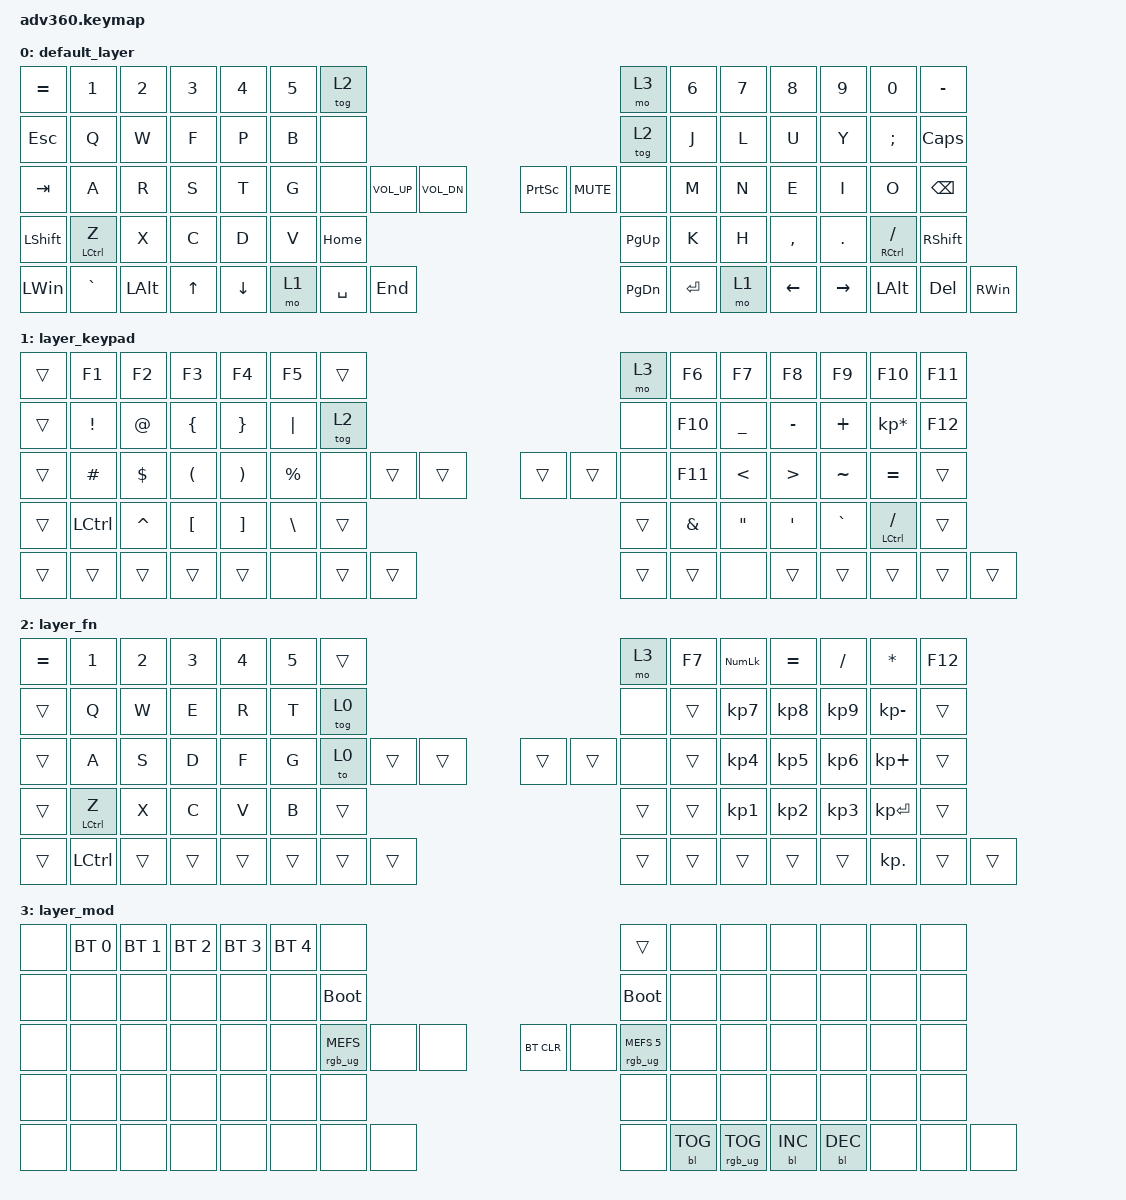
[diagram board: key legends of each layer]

/*
 * Copyright (c) 2020 The ZMK Contributors
 *
 * SPDX-License-Identifier: MIT
 */


/* THIS FILE WAS GENERATED!
 *
 * This file was generated automatically. You may or may not want to
 * edit it directly.
 */

#include <behaviors.dtsi>
#include <dt-bindings/zmk/keys.h>
#include <dt-bindings/zmk/bt.h>
#include <dt-bindings/zmk/rgb.h>
#include <dt-bindings/zmk/backlight.h>

/ {
  behaviors {
    #include "macros.dtsi"
    #include "version.dtsi"

    hm: homerow_mods {
        compatible = "zmk,behavior-hold-tap";
        label = "HOMEROW_MODS";
        #binding-cells = <2>;
        tapping-term-ms = <200>;
        quick_tap_ms = <175>;
        flavor = "tap-preferred";
        bindings = <&kp>, <&kp>;
    };
  };

    keymap {
        compatible = "zmk,keymap";


        default_layer {
            bindings = <
    &kp EQUAL              &kp N1        &kp N2  &kp N3    &kp N4  &kp N5            &tog 2                                                                            &mo 3  &kp N6    &kp N7     &kp N8        &kp N9                   &kp N0      &kp MINUS
      &kp ESC               &kp Q         &kp W   &kp F     &kp P   &kp B             &none                                                                           &tog 2   &kp J     &kp L      &kp U         &kp Y            &kp SEMICOLON       &kp CAPS
      &kp TAB               &kp A         &kp R   &kp S     &kp T   &kp G             &none  &kp K_VOL_UP  &kp K_VOL_DN                  &kp PRINTSCREEN  &kp K_MUTE   &none   &kp M     &kp N      &kp E         &kp I                    &kp O  &kp BACKSPACE
    &kp LSHFT  &mt LEFT_CONTROL Z         &kp X   &kp C     &kp D   &kp V                                      &kp HOME                        &kp PG_UP                       &kp K     &kp H  &kp COMMA       &kp DOT  &mt RIGHT_CONTROL SLASH      &kp RSHFT
 &kp LEFT_WIN           &kp GRAVE  &kp LEFT_ALT  &kp UP  &kp DOWN                     &mo 1     &kp SPACE       &kp END                        &kp PG_DN   &kp ENTER   &mo 1          &kp LEFT  &kp RIGHT  &kp LEFT_ALT                  &kp DEL  &kp RIGHT_WIN
            >;
        };

        layer_keypad {
            bindings = <
 &trans            &kp F1     &kp F2                &kp F3                 &kp F4         &kp F5            &trans                                                   &mo 3    &kp F6             &kp F7            &kp F8     &kp F9                 &kp F10  &kp F11
 &trans          &kp EXCL     &kp AT        &kp LEFT_BRACE        &kp RIGHT_BRACE       &kp PIPE            &tog 2                                                   &none   &kp F10          &kp UNDER         &kp MINUS   &kp PLUS         &kp KP_MULTIPLY  &kp F12
 &trans          &kp HASH   &kp DLLR  &kp LEFT_PARENTHESIS  &kp RIGHT_PARENTHESIS    &kp PERCENT             &none  &trans  &trans                  &trans  &trans   &none   &kp F11             &kp LT  &kp GREATER_THAN  &kp TILDE               &kp EQUAL   &trans
 &trans  &kp LEFT_CONTROL  &kp CARET      &kp LEFT_BRACKET      &kp RIGHT_BRACKET  &kp BACKSLASH                            &trans                  &trans                  &kp AMPS  &kp DOUBLE_QUOTES  &kp SINGLE_QUOTE  &kp GRAVE  &mt LEFT_CONTROL SLASH   &trans
 &trans            &trans     &trans                &trans                 &trans                            &none  &trans  &trans                  &trans  &trans   &none                       &trans            &trans     &trans                  &trans   &trans
            >;
        };

        layer_fn {
            bindings = <
 &kp EQUAL              &kp N1  &kp N2  &kp N3  &kp N4  &kp N5            &trans                                                   &mo 3  &kp F7   &kp KP_NUMLOCK        &kp EQUAL        &kp SLASH  &kp ASTERISK  &kp F12
    &trans               &kp Q   &kp W   &kp E   &kp R   &kp T            &tog 0                                                   &none  &trans  &kp KP_NUMBER_7  &kp KP_NUMBER_8  &kp KP_NUMBER_9  &kp KP_MINUS   &trans
    &trans               &kp A   &kp S   &kp D   &kp F   &kp G             &to 0  &trans  &trans                  &trans  &trans   &none  &trans  &kp KP_NUMBER_4  &kp KP_NUMBER_5  &kp KP_NUMBER_6   &kp KP_PLUS   &trans
    &trans  &mt LEFT_CONTROL Z   &kp X   &kp C   &kp V   &kp B                            &trans                  &trans                  &trans        &kp KP_N1  &kp KP_NUMBER_2  &kp KP_NUMBER_3  &kp KP_ENTER   &trans
    &trans    &kp LEFT_CONTROL  &trans  &trans  &trans                    &trans  &trans  &trans                  &trans  &trans  &trans                   &trans           &trans       &kp KP_DOT        &trans   &trans
            >;
        };

        layer_mod {
            bindings = <
  &none  &bt BT_SEL 0  &bt BT_SEL 1  &bt BT_SEL 2  &bt BT_SEL 3  &bt BT_SEL 4                           &none                                                                          &trans   &none       &none       &none   &none   &none   &none
  &none         &none         &none         &none         &none         &none                     &bootloader                                                                     &bootloader   &none       &none       &none   &none   &none   &none
  &none         &none         &none         &none         &none         &none            &rgb_ug RGB_MEFS_CMD   &none   &none                  &bt BT_CLR       &none  &rgb_ug RGB_MEFS_CMD 5   &none       &none       &none   &none   &none   &none
  &none         &none         &none         &none         &none         &none                                           &none                       &none                                       &none       &none       &none   &none   &none   &none
  &none         &none         &none         &none         &none                                         &none   &none   &none                       &none  &bl BL_TOG         &rgb_ug RGB_TOG          &bl BL_INC  &bl BL_DEC   &none   &none   &none
            >;
        };

    };
};
